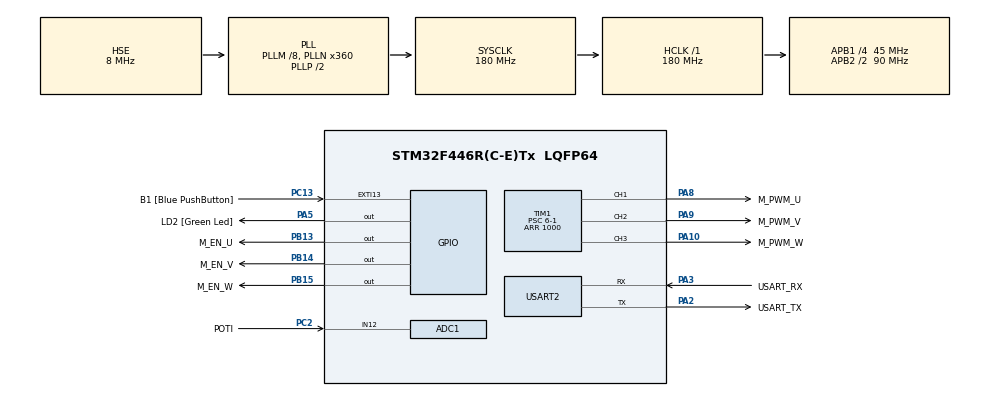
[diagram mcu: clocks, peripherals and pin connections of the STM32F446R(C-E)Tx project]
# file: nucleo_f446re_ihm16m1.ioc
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ADC1.Channel-0\#ChannelRegularConversion=ADC_CHANNEL_12
ADC1.ContinuousConvMode=ENABLE
ADC1.InjNumberOfConversion=0
ADC1.NbrOfConversion=1
ADC1.NbrOfConversionFlag=1
ADC1.Rank-0\#ChannelRegularConversion=1
ADC1.SamplingTime-0\#ChannelRegularConversion=ADC_SAMPLETIME_480CYCLES
ADC1.master=1
Mcu.Family=STM32F4
Mcu.Name=STM32F446R(C-E)Tx
Mcu.Package=LQFP64
NVIC.ADC_IRQn=true\:0\:0\:false\:false\:true\:true\:true
NVIC.PriorityGroup=NVIC_PRIORITYGROUP_0
NVIC.TIM1_UP_TIM10_IRQn=true\:0\:0\:false\:false\:true\:true\:true
NVIC.TIM8_TRG_COM_TIM14_IRQn=true\:0\:0\:false\:false\:true\:true\:true
PA10.GPIO_Label=M_PWM_W
PA10.Signal=S_TIM1_CH3
PA13.GPIO_Label=TMS
PA13.Mode=Serial_Wire
PA13.Signal=SYS_JTMS-SWDIO
PA14.GPIO_Label=TCK
PA14.Mode=Serial_Wire
PA14.Signal=SYS_JTCK-SWCLK
PA2.GPIO_Label=USART_TX
PA2.Mode=Asynchronous
PA2.Signal=USART2_TX
PA3.GPIO_Label=USART_RX
PA3.Mode=Asynchronous
PA3.Signal=USART2_RX
PA5.GPIO_Label=LD2 [Green Led]
PA5.Signal=GPIO_Output
PA8.GPIO_Label=M_PWM_U
PA8.Signal=S_TIM1_CH1
PA9.GPIO_Label=M_PWM_V
PA9.Signal=S_TIM1_CH2
PB13.GPIO_Label=M_EN_U
PB13.Signal=GPIO_Output
PB14.GPIO_Label=M_EN_V
PB14.Signal=GPIO_Output
PB15.GPIO_Label=M_EN_W
PB15.Signal=GPIO_Output
PC13.GPIO_Label=B1 [Blue PushButton]
PC13.GPIO_ModeDefaultEXTI=GPIO_MODE_IT_FALLING
PC13.Signal=GPXTI13
PC14-OSC32_IN.Mode=LSE-External-Oscillator
PC14-OSC32_IN.Signal=RCC_OSC32_IN
PC15-OSC32_OUT.Mode=LSE-External-Oscillator
PC15-OSC32_OUT.Signal=RCC_OSC32_OUT
PC2.GPIO_Label=POTI
PC2.Signal=ADCx_IN12
PH0-OSC_IN.Mode=HSE-External-Oscillator
PH0-OSC_IN.Signal=RCC_OSC_IN
PH1-OSC_OUT.Mode=HSE-External-Oscillator
PH1-OSC_OUT.Signal=RCC_OSC_OUT
ProjectManager.HeapSize=0x200
ProjectManager.StackSize=0x400
ProjectManager.TargetToolchain=STM32CubeIDE
RCC.48MHZClocksFreq_Value=84000000
RCC.AHBFreq_Value=180000000
RCC.APB1CLKDivider=RCC_HCLK_DIV4
RCC.APB1Freq_Value=45000000
RCC.APB1TimFreq_Value=90000000
RCC.APB2CLKDivider=RCC_HCLK_DIV2
RCC.APB2Freq_Value=90000000
RCC.APB2TimFreq_Value=180000000
RCC.CortexFreq_Value=180000000
RCC.FLatency-AdvancedSettings=FLASH_LATENCY_5
RCC.HCLKFreq_Value=180000000
RCC.HSE_VALUE=8000000
RCC.HSI_VALUE=16000000
RCC.PLLM=8
RCC.PLLN=360
RCC.PLLSourceVirtual=RCC_PLLSOURCE_HSE
RCC.SYSCLKFreq_VALUE=180000000
RCC.SYSCLKSource=RCC_SYSCLKSOURCE_PLLCLK
RCC.USBFreq_Value=180000000
RCC.VCOOutputFreq_Value=360000000
SH.ADCx_IN12.0=ADC1_IN12,IN12
SH.S_TIM1_CH1.0=TIM1_CH1,PWM Generation1 CH1
SH.S_TIM1_CH2.0=TIM1_CH2,PWM Generation2 CH2
SH.S_TIM1_CH3.0=TIM1_CH3,PWM Generation3 CH3
TIM1.Channel-PWM\ Generation1\ CH1=TIM_CHANNEL_1
TIM1.Channel-PWM\ Generation2\ CH2=TIM_CHANNEL_2
TIM1.Channel-PWM\ Generation3\ CH3=TIM_CHANNEL_3
TIM1.ClockDivision=TIM_CLOCKDIVISION_DIV1
TIM1.CounterMode=TIM_COUNTERMODE_CENTERALIGNED1
TIM1.Period=1000
TIM1.Prescaler=6-1
TIM14.ClockDivision=TIM_CLOCKDIVISION_DIV4
TIM14.Period=1000-1
TIM14.Prescaler=45-1
USART2.VirtualMode=VM_ASYNC
VP_TIM14_VS_ClockSourceINT.Mode=Enable_Timer
board=NUCLEO-F446RE

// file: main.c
/* USER CODE BEGIN Header */
/**
  ******************************************************************************
  * @file           : main.c
  * @brief          : Main program body
  ******************************************************************************
  * @attention
  *
  * <h2><center>&copy; Copyright (c) 2020 STMicroelectronics.
  * All rights reserved.</center></h2>
  *
  * This software component is licensed by ST under BSD 3-Clause license,
  * the "License"; You may not use this file except in compliance with the
  * License. You may obtain a copy of the License at:
  *                        opensource.org/licenses/BSD-3-Clause
  *
  ******************************************************************************
  */
/* USER CODE END Header */

#include "main.h"

/* USER CODE BEGIN Includes */
#include <stdio.h>
#include <math.h>
/* USER CODE END Includes */

/* USER CODE BEGIN PD */
#define M_PWM_FREQ_KHZ 15.0f
#define M_MAX_MOD 0.866f
/* USER CODE END PD */

ADC_HandleTypeDef hadc1;

TIM_HandleTypeDef htim1;
TIM_HandleTypeDef htim14;

UART_HandleTypeDef huart2;

/* USER CODE BEGIN PV */
volatile float    g_poti_angle = 0.0f;
volatile float    g_mod       = 0.25f; //!< Modulation index
volatile uint16_t g_elec_angle_deg = 0u;  //!< Electrical angle 1 = 0.1 deg
volatile uint8_t  g_elec_sector    = 0u;  //!< Sector (0 - 5)
volatile uint16_t g_ccr_ta         = 0u;  //!< CCR value for a
volatile uint16_t g_ccr_tb         = 0u;  //!< CCR value for b
volatile uint16_t g_ccr_t0         = 0u;  //!< CCR value for 0
volatile int8_t   g_dir            = 1;

/* USER CODE END PV */

void SystemClock_Config(void);
static void MX_GPIO_Init(void);
static void MX_USART2_UART_Init(void);
static void MX_TIM1_Init(void);
static void MX_ADC1_Init(void);
static void MX_TIM14_Init(void);

int main(void)
                                                                                                                                                                                                                                                                                                                                                                                                                                                                                                                                                                                                                                                                                                                                                                                                                 {

  /* MCU Configuration--------------------------------------------------------*/

  /* Reset of all peripherals, Initializes the Flash interface and the Systick. */
  HAL_Init();

  /* Configure the system clock */
  SystemClock_Config();

  /* Initialize all configured peripherals */
  MX_GPIO_Init();
  MX_USART2_UART_Init();
  MX_TIM1_Init();
  MX_ADC1_Init();
  MX_TIM14_Init();
  /* USER CODE BEGIN 2 */
  HAL_ADC_Start_IT(&hadc1);

  HAL_GPIO_WritePin(M_EN_U_GPIO_Port, M_EN_U_Pin, GPIO_PIN_SET);
  HAL_GPIO_WritePin(M_EN_V_GPIO_Port, M_EN_V_Pin, GPIO_PIN_SET);
  HAL_GPIO_WritePin(M_EN_W_GPIO_Port, M_EN_W_Pin, GPIO_PIN_SET);

  HAL_TIM_Base_Start_IT(&htim1);
  HAL_TIM_PWM_Start(&htim1, TIM_CHANNEL_1);
  HAL_TIM_PWM_Start(&htim1, TIM_CHANNEL_2);
  HAL_TIM_PWM_Start(&htim1, TIM_CHANNEL_3);

  HAL_TIM_Base_Start_IT(&htim14);
  htim14.Instance->ARR = 50;

  /* USER CODE END 2 */

  /* Infinite loop */
  /* USER CODE BEGIN WHILE */
  uint32_t msg_cnt = 1u;
  uint8_t  mode = 0;

  while (1)
  {
    //printf("Angle: %.1f Sector: %i\n", (float)(g_elec_angle_deg)*0.1f, g_elec_sector);

    const float poti = (g_poti_angle - 0.5f) * 2.0f;

    g_dir = (int8_t)(poti * 9.0f);

    if(g_dir == 0) {
      g_mod = 0.0f;
    }
    else {
      g_mod = 0.1f + fabsf(poti) * 0.27f;
    }

    msg_cnt++;

    if(HAL_GPIO_ReadPin(B1_GPIO_Port, B1_Pin) == GPIO_PIN_RESET) {
      if(mode == 0) {
        htim14.Instance->ARR = 50;
        mode = 1;
      }
      else {
        htim14.Instance->ARR = 500;
        mode = 0;
      }
    }

    HAL_GPIO_TogglePin(LD2_GPIO_Port, LD2_Pin);
    HAL_Delay(100u);
    /* USER CODE END WHILE */

  }
}

void SystemClock_Config(void)
{
  RCC_OscInitTypeDef RCC_OscInitStruct = {0};
  RCC_ClkInitTypeDef RCC_ClkInitStruct = {0};

  /** Configure the main internal regulator output voltage
  */
  __HAL_RCC_PWR_CLK_ENABLE();
  __HAL_PWR_VOLTAGESCALING_CONFIG(PWR_REGULATOR_VOLTAGE_SCALE1);
  /** Initializes the CPU, AHB and APB busses clocks
  */
  RCC_OscInitStruct.OscillatorType = RCC_OSCILLATORTYPE_HSE;
  RCC_OscInitStruct.HSEState = RCC_HSE_ON;
  RCC_OscInitStruct.PLL.PLLState = RCC_PLL_ON;
  RCC_OscInitStruct.PLL.PLLSource = RCC_PLLSOURCE_HSE;
  RCC_OscInitStruct.PLL.PLLM = 8;
  RCC_OscInitStruct.PLL.PLLN = 360;
  RCC_OscInitStruct.PLL.PLLP = RCC_PLLP_DIV2;
  RCC_OscInitStruct.PLL.PLLQ = 2;
  RCC_OscInitStruct.PLL.PLLR = 2;
  if (HAL_RCC_OscConfig(&RCC_OscInitStruct) != HAL_OK)
  {
    Error_Handler();
  }
  /** Activate the Over-Drive mode
  */
  if (HAL_PWREx_EnableOverDrive() != HAL_OK)
  {
    Error_Handler();
  }
  /** Initializes the CPU, AHB and APB busses clocks
  */
  RCC_ClkInitStruct.ClockType = RCC_CLOCKTYPE_HCLK|RCC_CLOCKTYPE_SYSCLK
                              |RCC_CLOCKTYPE_PCLK1|RCC_CLOCKTYPE_PCLK2;
  RCC_ClkInitStruct.SYSCLKSource = RCC_SYSCLKSOURCE_PLLCLK;
  RCC_ClkInitStruct.AHBCLKDivider = RCC_SYSCLK_DIV1;
  RCC_ClkInitStruct.APB1CLKDivider = RCC_HCLK_DIV4;
  RCC_ClkInitStruct.APB2CLKDivider = RCC_HCLK_DIV2;

  if (HAL_RCC_ClockConfig(&RCC_ClkInitStruct, FLASH_LATENCY_5) != HAL_OK)
  {
    Error_Handler();
  }
}

static void MX_ADC1_Init(void)
{

  ADC_ChannelConfTypeDef sConfig = {0};

  /** Configure the global features of the ADC (Clock, Resolution, Data Alignment and number of conversion)
  */
  hadc1.Instance = ADC1;
  hadc1.Init.ClockPrescaler = ADC_CLOCK_SYNC_PCLK_DIV4;
  hadc1.Init.Resolution = ADC_RESOLUTION_12B;
  hadc1.Init.ScanConvMode = DISABLE;
  hadc1.Init.ContinuousConvMode = ENABLE;
  hadc1.Init.DiscontinuousConvMode = DISABLE;
  hadc1.Init.ExternalTrigConvEdge = ADC_EXTERNALTRIGCONVEDGE_NONE;
  hadc1.Init.ExternalTrigConv = ADC_SOFTWARE_START;
  hadc1.Init.DataAlign = ADC_DATAALIGN_RIGHT;
  hadc1.Init.NbrOfConversion = 1;
  hadc1.Init.DMAContinuousRequests = DISABLE;
  hadc1.Init.EOCSelection = ADC_EOC_SINGLE_CONV;
  if (HAL_ADC_Init(&hadc1) != HAL_OK)
  {
    Error_Handler();
  }
  /** Configure for the selected ADC regular channel its corresponding rank in the sequencer and its sample time.
  */
  sConfig.Channel = ADC_CHANNEL_12;
  sConfig.Rank = 1;
  sConfig.SamplingTime = ADC_SAMPLETIME_480CYCLES;
  if (HAL_ADC_ConfigChannel(&hadc1, &sConfig) != HAL_OK)
  {
    Error_Handler();
  }

}

static void MX_TIM1_Init(void)
{

  TIM_MasterConfigTypeDef sMasterConfig = {0};
  TIM_OC_InitTypeDef sConfigOC = {0};
  TIM_BreakDeadTimeConfigTypeDef sBreakDeadTimeConfig = {0};

  htim1.Instance = TIM1;
  htim1.Init.Prescaler = 6-1;
  htim1.Init.CounterMode = TIM_COUNTERMODE_CENTERALIGNED1;
  htim1.Init.Period = 1000;
  htim1.Init.ClockDivision = TIM_CLOCKDIVISION_DIV1;
  htim1.Init.RepetitionCounter = 0;
  htim1.Init.AutoReloadPreload = TIM_AUTORELOAD_PRELOAD_DISABLE;
  if (HAL_TIM_PWM_Init(&htim1) != HAL_OK)
  {
    Error_Handler();
  }
  sMasterConfig.MasterOutputTrigger = TIM_TRGO_RESET;
  sMasterConfig.MasterSlaveMode = TIM_MASTERSLAVEMODE_DISABLE;
  if (HAL_TIMEx_MasterConfigSynchronization(&htim1, &sMasterConfig) != HAL_OK)
  {
    Error_Handler();
  }
  sConfigOC.OCMode = TIM_OCMODE_PWM1;
  sConfigOC.Pulse = 0;
  sConfigOC.OCPolarity = TIM_OCPOLARITY_HIGH;
  sConfigOC.OCNPolarity = TIM_OCNPOLARITY_HIGH;
  sConfigOC.OCFastMode = TIM_OCFAST_DISABLE;
  sConfigOC.OCIdleState = TIM_OCIDLESTATE_RESET;
  sConfigOC.OCNIdleState = TIM_OCNIDLESTATE_RESET;
  if (HAL_TIM_PWM_ConfigChannel(&htim1, &sConfigOC, TIM_CHANNEL_1) != HAL_OK)
  {
    Error_Handler();
  }
  if (HAL_TIM_PWM_ConfigChannel(&htim1, &sConfigOC, TIM_CHANNEL_2) != HAL_OK)
  {
    Error_Handler();
  }
  if (HAL_TIM_PWM_ConfigChannel(&htim1, &sConfigOC, TIM_CHANNEL_3) != HAL_OK)
  {
    Error_Handler();
  }
  sBreakDeadTimeConfig.OffStateRunMode = TIM_OSSR_DISABLE;
  sBreakDeadTimeConfig.OffStateIDLEMode = TIM_OSSI_DISABLE;
  sBreakDeadTimeConfig.LockLevel = TIM_LOCKLEVEL_OFF;
  sBreakDeadTimeConfig.DeadTime = 0;
  sBreakDeadTimeConfig.BreakState = TIM_BREAK_DISABLE;
  sBreakDeadTimeConfig.BreakPolarity = TIM_BREAKPOLARITY_HIGH;
  sBreakDeadTimeConfig.AutomaticOutput = TIM_AUTOMATICOUTPUT_DISABLE;
  if (HAL_TIMEx_ConfigBreakDeadTime(&htim1, &sBreakDeadTimeConfig) != HAL_OK)
  {
    Error_Handler();
  }
  HAL_TIM_MspPostInit(&htim1);

}

static void MX_TIM14_Init(void)
{

  htim14.Instance = TIM14;
  htim14.Init.Prescaler = 45-1;
  htim14.Init.CounterMode = TIM_COUNTERMODE_UP;
  htim14.Init.Period = 1000-1;
  htim14.Init.ClockDivision = TIM_CLOCKDIVISION_DIV4;
  htim14.Init.AutoReloadPreload = TIM_AUTORELOAD_PRELOAD_DISABLE;
  if (HAL_TIM_Base_Init(&htim14) != HAL_OK)
  {
    Error_Handler();
  }

}

static void MX_USART2_UART_Init(void)
{

  huart2.Instance = USART2;
  huart2.Init.BaudRate = 115200;
  huart2.Init.WordLength = UART_WORDLENGTH_8B;
  huart2.Init.StopBits = UART_STOPBITS_1;
  huart2.Init.Parity = UART_PARITY_NONE;
  huart2.Init.Mode = UART_MODE_TX_RX;
  huart2.Init.HwFlowCtl = UART_HWCONTROL_NONE;
  huart2.Init.OverSampling = UART_OVERSAMPLING_16;
  if (HAL_UART_Init(&huart2) != HAL_OK)
  {
    Error_Handler();
  }

}

static void MX_GPIO_Init(void)
{
  GPIO_InitTypeDef GPIO_InitStruct = {0};

  /* GPIO Ports Clock Enable */
  __HAL_RCC_GPIOC_CLK_ENABLE();
  __HAL_RCC_GPIOH_CLK_ENABLE();
  __HAL_RCC_GPIOA_CLK_ENABLE();
  __HAL_RCC_GPIOB_CLK_ENABLE();

  /*Configure GPIO pin Output Level */
  HAL_GPIO_WritePin(LD2_GPIO_Port, LD2_Pin, GPIO_PIN_RESET);

  /*Configure GPIO pin Output Level */
  HAL_GPIO_WritePin(GPIOB, M_EN_U_Pin|M_EN_V_Pin|M_EN_W_Pin, GPIO_PIN_RESET);

  /*Configure GPIO pin : B1_Pin */
  GPIO_InitStruct.Pin = B1_Pin;
  GPIO_InitStruct.Mode = GPIO_MODE_IT_FALLING;
  GPIO_InitStruct.Pull = GPIO_NOPULL;
  HAL_GPIO_Init(B1_GPIO_Port, &GPIO_InitStruct);

  /*Configure GPIO pin : LD2_Pin */
  GPIO_InitStruct.Pin = LD2_Pin;
  GPIO_InitStruct.Mode = GPIO_MODE_OUTPUT_PP;
  GPIO_InitStruct.Pull = GPIO_NOPULL;
  GPIO_InitStruct.Speed = GPIO_SPEED_FREQ_LOW;
  HAL_GPIO_Init(LD2_GPIO_Port, &GPIO_InitStruct);

  /*Configure GPIO pins : M_EN_U_Pin M_EN_V_Pin M_EN_W_Pin */
  GPIO_InitStruct.Pin = M_EN_U_Pin|M_EN_V_Pin|M_EN_W_Pin;
  GPIO_InitStruct.Mode = GPIO_MODE_OUTPUT_PP;
  GPIO_InitStruct.Pull = GPIO_NOPULL;
  GPIO_InitStruct.Speed = GPIO_SPEED_FREQ_LOW;
  HAL_GPIO_Init(GPIOB, &GPIO_InitStruct);

}

/* USER CODE BEGIN 4 */

int __io_putchar(int ch)
{
  static uint8_t tx_buffer[256];
  static uint8_t tx_buffer_pos = 0u;

  if(tx_buffer_pos < 254) {
    tx_buffer[tx_buffer_pos++] = (uint8_t)ch;
  }

  if((tx_buffer[tx_buffer_pos - 1] == '\n') ||
      tx_buffer_pos >= 254) {
    tx_buffer[tx_buffer_pos++] = '\r';
    HAL_UART_Transmit(&huart2, tx_buffer, tx_buffer_pos, 100u);
    tx_buffer_pos = 0u;
  }

  return 0;
}

void HAL_TIM_PeriodElapsedCallback(TIM_HandleTypeDef *htim)
{
  if(htim->Instance == htim1.Instance)
  {
    switch(g_elec_sector)
    {
      case 0: {
        htim1.Instance->CCR1 = g_ccr_t0;
        htim1.Instance->CCR2 = g_ccr_t0 + g_ccr_tb;
        htim1.Instance->CCR3 = g_ccr_t0 + g_ccr_tb + g_ccr_ta;
      }break;

      case 1: {
        htim1.Instance->CCR1 = g_ccr_t0;
        htim1.Instance->CCR2 = g_ccr_t0 + g_ccr_ta + g_ccr_tb;
        htim1.Instance->CCR3 = g_ccr_t0 + g_ccr_ta;
      }break;

      case 2: {
        htim1.Instance->CCR1 = g_ccr_t0 + g_ccr_tb;
        htim1.Instance->CCR2 = g_ccr_t0 + g_ccr_ta + g_ccr_tb;
        htim1.Instance->CCR3 = g_ccr_t0;
      }break;

      case 3: {
        htim1.Instance->CCR1 = g_ccr_t0 + g_ccr_ta + g_ccr_tb;
        htim1.Instance->CCR2 = g_ccr_t0 + g_ccr_ta;
        htim1.Instance->CCR3 = g_ccr_t0;
      }break;

      case 4: {
        htim1.Instance->CCR1 = g_ccr_t0 + g_ccr_ta + g_ccr_tb;
        htim1.Instance->CCR2 = g_ccr_t0;
        htim1.Instance->CCR3 = g_ccr_t0 + g_ccr_tb;
      }break;

      case 5: {
        htim1.Instance->CCR1 = g_ccr_t0 + g_ccr_ta;
        htim1.Instance->CCR2 = g_ccr_t0;
        htim1.Instance->CCR3 = g_ccr_t0 + g_ccr_ta + g_ccr_tb;
      }break;
    }
  }

  else if(htim->Instance == htim14.Instance)
  {
    // Update electrical angle
    g_elec_angle_deg += g_dir;

    // Limit electrical angle to 360 deg
    if(g_elec_angle_deg > 3600u && g_dir > 0) {
      g_elec_angle_deg = g_elec_angle_deg % 3600u;
    }
    else if(g_elec_angle_deg > 3600u && g_dir < 0) {
      g_elec_angle_deg = 3600u;
    }

    // Calculate active sector 0 - 5 (0 - 360 with 60 deg steps)
    g_elec_sector = g_elec_angle_deg / 600;

    if(g_elec_sector >= 6) g_elec_sector = 0u;

    // Calculate time weights
    const float angle_rad = (float)(g_elec_angle_deg % 600) * (M_PI / 1800.0f);

    // 2/sqrt(3) = 1.1547005
    const float weight_a = fabs(1.1547f * g_mod * sinf((M_PI/3.0f) - angle_rad));
    const float weight_b = fabs(1.1547f * g_mod * sinf(angle_rad));

    // Calculate CCR values
    g_ccr_ta  = (uint16_t)(weight_a * 1000.0f);
    g_ccr_tb  = (uint16_t)(weight_b * 1000.0f);
    g_ccr_t0  = (1000 - g_ccr_ta - g_ccr_tb) >> 1u;
  }
}

void HAL_ADC_ConvCpltCallback(ADC_HandleTypeDef* hadc)
{
  if(hadc->Instance == hadc1.Instance)
  {
    const float poti_angle  = (float)(hadc->Instance->DR + 1u) / 4095.0f;

    if(fabsf(poti_angle - g_poti_angle) > 0.01f) {
      g_poti_angle = poti_angle;
    }
  }
}

/* USER CODE END 4 */

void Error_Handler(void)
{
}

/************************ (C) COPYRIGHT STMicroelectronics *****END OF FILE****/
